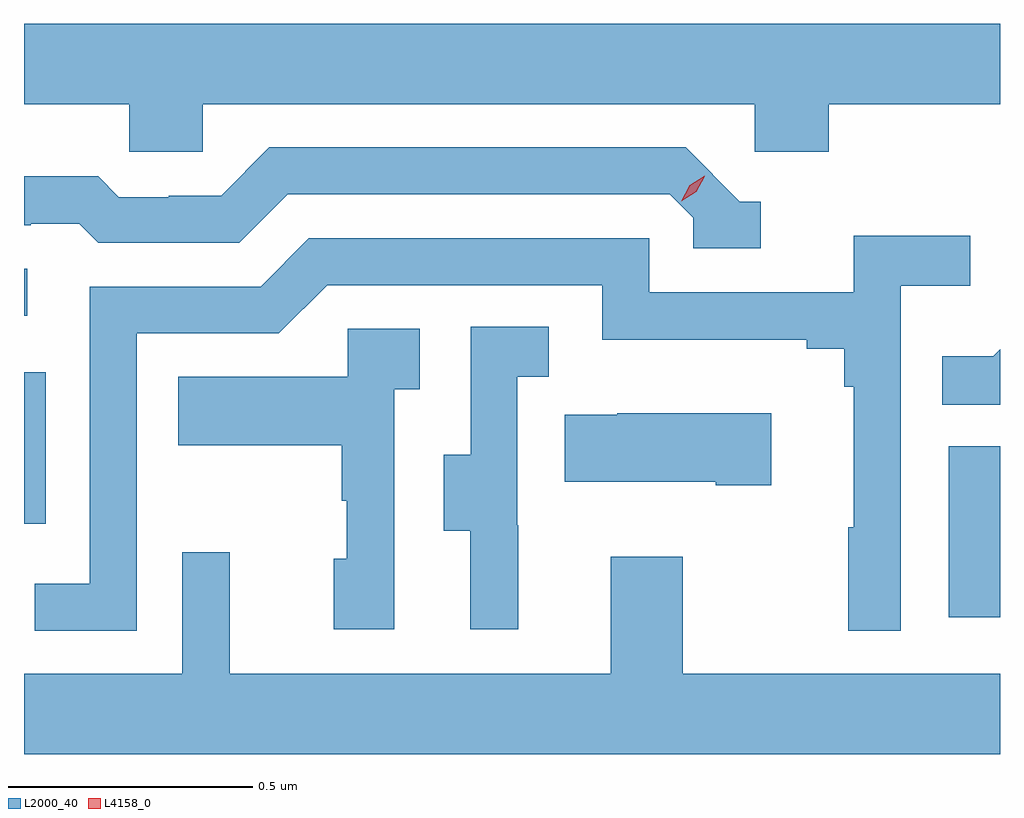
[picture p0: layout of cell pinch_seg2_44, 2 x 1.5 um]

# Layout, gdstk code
import gdstk
lib = gdstk.Library(unit=1e-6, precision=1e-09)
def R(c, l, rs):  # rectangles x0, y0, x1, y1
    for r in rs: c.add(gdstk.rectangle(r[:2], r[2:], *l))
def P(c, l, *ps):  # polygons
    for p in ps: c.add(gdstk.Polygon(p, *l))
L2000_40 = (2000, 40)
L4158_0 = (4158, 0)

pinch_seg2_44 = lib.new_cell('pinch_seg2_44')
R(pinch_seg2_44, L2000_40, [(1117.946,657.24,1118.051,657.591), (1116.051,657.432,1116.096,657.742), (1116.051,657.858,1116.058,657.954)])
P(pinch_seg2_44, L2000_40, [(1116.417,658.292),(1117.548,658.292),(1117.548,658.194),(1117.7,658.194),(1117.7,658.292),(1118.051,658.292),(1118.051,658.456),(1116.051,658.456),(1116.051,658.292),(1116.267,658.292),(1116.267,658.194),(1116.417,658.194)],
  [(1117.561,658.092),(1117.518,658.092),(1117.407,658.203),(1116.554,658.203),(1116.455,658.104),(1116.348,658.104),(1116.348,658.101),(1116.245,658.101),(1116.203,658.144),(1116.051,658.144),(1116.051,658.044),(1116.065,658.044),(1116.065,658.047),(1116.164,658.047),(1116.203,658.008),(1116.492,658.008),(1116.591,658.107),(1117.374,658.107),(1117.422,658.059),(1117.422,657.996),(1117.561,657.996)],
  [(1116.282,657.822),(1116.573,657.822),(1116.672,657.921),(1117.236,657.921),(1117.236,657.809),(1117.655,657.809),(1117.655,657.79),(1117.732,657.79),(1117.732,657.713),(1117.751,657.713),(1117.751,657.425),(1117.74,657.425),(1117.74,657.213),(1117.848,657.213),(1117.848,657.92),(1117.99,657.92),(1117.99,658.022),(1117.751,658.022),(1117.751,657.906),(1117.332,657.906),(1117.332,658.017),(1116.635,658.017),(1116.536,657.918),(1116.186,657.918),(1116.186,657.309),(1116.073,657.309),(1116.073,657.213),(1116.282,657.213)],
  [(1117.064,657.429),(1117.062,657.429),(1117.062,657.733),(1117.126,657.733),(1117.126,657.836),(1116.966,657.836),(1116.966,657.573),(1116.911,657.573),(1116.911,657.418),(1116.965,657.418),(1116.965,657.216),(1117.064,657.216)],
  [(1116.81,657.707),(1116.862,657.707),(1116.862,657.831),(1116.714,657.831),(1116.714,657.733),(1116.367,657.733),(1116.367,657.593),(1116.702,657.593),(1116.702,657.479),(1116.712,657.479),(1116.712,657.36),(1116.686,657.36),(1116.686,657.216),(1116.81,657.216)],
  [(1118.051,657.789),(1118.037,657.775),(1117.933,657.775),(1117.933,657.676),(1118.051,657.676)],
  [(1117.582,657.658),(1117.267,657.658),(1117.267,657.655),(1117.159,657.655),(1117.159,657.518),(1117.469,657.518),(1117.469,657.511),(1117.582,657.511)],
  [(1117.253,657.364),(1117.253,657.124),(1116.473,657.124),(1116.473,657.373),(1116.375,657.373),(1116.375,657.124),(1116.051,657.124),(1116.051,656.96),(1118.051,656.96),(1118.051,657.124),(1117.401,657.124),(1117.401,657.364)])
P(pinch_seg2_44, L4158_0, [(1117.398,658.093),(1117.398,658.093),(1117.415,658.126),(1117.446,658.145),(1117.446,658.145),(1117.446,658.144),(1117.429,658.112),(1117.398,658.093)])

lib.write_gds('pinch_seg2_44.gds')
